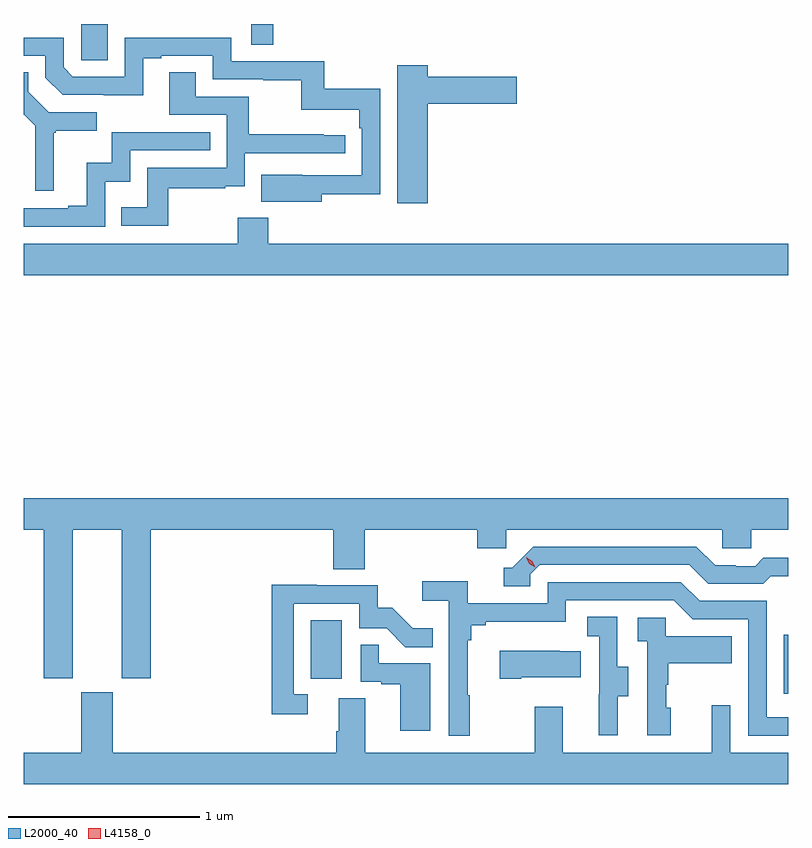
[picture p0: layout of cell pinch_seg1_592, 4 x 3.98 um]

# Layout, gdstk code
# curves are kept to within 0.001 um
import gdstk
lib = gdstk.Library(unit=1e-6, precision=1e-09)
def R(c, l, rs):  # rectangles x0, y0, x1, y1
    for r in rs: c.add(gdstk.rectangle(r[:2], r[2:], *l))
def P(c, l, *ps):  # polygons
    for p in ps: c.add(gdstk.Polygon(p, *l))
L2000_40 = (2000, 40)
L4158_0 = (4158, 0)

pinch_seg1_592 = lib.new_cell('pinch_seg1_592')
R(pinch_seg1_592, L2000_40, [(1048.248,508.248,1048.271,508.558), (1045.772,508.326,1045.936,508.633), (1044.57,511.564,1044.709,511.754), (1045.461,511.645,1045.577,511.754)])
P(pinch_seg1_592, L2000_40, [(1045.831,510.862),(1046.136,510.862),(1046.136,511.414),(1045.843,511.414),(1045.843,511.56),(1045.356,511.56),(1045.356,511.683),(1044.798,511.683),(1044.798,511.479),(1044.528,511.479),(1044.48,511.527),(1044.48,511.683),(1044.271,511.683),(1044.271,511.587),(1044.384,511.587),(1044.384,511.473),(1044.474,511.383),(1044.895,511.382),(1044.895,511.575),(1044.991,511.575),(1044.991,511.587),(1045.26,511.587),(1045.26,511.464),(1045.525,511.464),(1045.525,511.459),(1045.722,511.459),(1045.722,511.304),(1046.027,511.304),(1046.027,511.208),(1046.04,511.208),(1046.04,510.963),(1045.513,510.964),(1045.513,510.824),(1045.831,510.824)],
  [(1046.386,511.337),(1046.851,511.337),(1046.851,511.479),(1046.386,511.479),(1046.386,511.537),(1046.225,511.537),(1046.225,510.816),(1046.386,510.816)],
  [(1045.027,510.894),(1045.325,510.894),(1045.325,510.905),(1045.428,510.905),(1045.428,511.077),(1045.954,511.077),(1045.954,511.173),(1045.841,511.173),(1045.841,511.178),(1045.448,511.178),(1045.448,511.374),(1045.171,511.374),(1045.171,511.502),(1045.031,511.502),(1045.031,511.278),(1045.332,511.278),(1045.332,511.002),(1044.916,511.002),(1044.916,510.796),(1044.781,510.796),(1044.781,510.699),(1045.027,510.699)],
  [(1044.427,511.185),(1044.439,511.185),(1044.439,511.196),(1044.652,511.196),(1044.652,511.293),(1044.402,511.293),(1044.295,511.4),(1044.295,511.502),(1044.271,511.502),(1044.271,511.278),(1044.273,511.278),(1044.33,511.221),(1044.33,510.882),(1044.427,510.882)],
  [(1044.696,510.929),(1044.828,510.929),(1044.828,511.092),(1045.247,511.092),(1045.247,511.188),(1044.732,511.188),(1044.732,511.027),(1044.599,511.027),(1044.599,510.802),(1044.503,510.802),(1044.503,510.789),(1044.271,510.789),(1044.271,510.693),(1044.696,510.693)],
  [(1048.271,510.604),(1045.55,510.604),(1045.55,510.739),(1045.39,510.739),(1045.39,510.604),(1044.271,510.604),(1044.271,510.44),(1048.271,510.44)],
  [(1044.526,509.108),(1044.782,509.108),(1044.782,508.329),(1044.935,508.329),(1044.935,509.108),(1045.889,509.108),(1045.889,508.9),(1046.054,508.9),(1046.054,509.108),(1046.645,509.108),(1046.645,509.01),(1046.796,509.01),(1046.796,509.108),(1047.927,509.108),(1047.927,509.01),(1048.077,509.01),(1048.077,509.108),(1048.271,509.108),(1048.271,509.272),(1044.271,509.272),(1044.271,509.108),(1044.374,509.108),(1044.374,508.329),(1044.526,508.329)],
  [(1046.922,508.875),(1046.97,508.923),(1047.753,508.923),(1047.852,508.824),(1048.141,508.824),(1048.18,508.863),(1048.271,508.863),(1048.271,508.96),(1048.141,508.96),(1048.099,508.917),(1047.996,508.917),(1047.996,508.92),(1047.889,508.92),(1047.79,509.019),(1046.937,509.019),(1046.826,508.908),(1046.783,508.908),(1046.783,508.812),(1046.922,508.812)],
  [(1046.605,508.241),(1046.593,508.241),(1046.593,508.529),(1046.612,508.529),(1046.612,508.606),(1046.689,508.606),(1046.689,508.625),(1047.108,508.625),(1047.108,508.737),(1047.672,508.737),(1047.771,508.638),(1048.062,508.638),(1048.062,508.029),(1048.271,508.029),(1048.271,508.125),(1048.158,508.125),(1048.158,508.734),(1047.808,508.734),(1047.709,508.833),(1047.012,508.833),(1047.012,508.722),(1046.594,508.722),(1046.594,508.838),(1046.355,508.838),(1046.355,508.736),(1046.496,508.736),(1046.496,508.029),(1046.605,508.029)],
  [(1045.756,508.245),(1045.683,508.245),(1045.683,508.719),(1046.025,508.719),(1046.025,508.59),(1046.169,508.59),(1046.267,508.492),(1046.411,508.492),(1046.411,508.591),(1046.307,508.591),(1046.2,508.698),(1046.124,508.698),(1046.124,508.815),(1045.805,508.815),(1045.805,508.82),(1045.567,508.82),(1045.567,508.14),(1045.756,508.14)],
  [(1047.379,508.234),(1047.433,508.234),(1047.433,508.389),(1047.378,508.389),(1047.378,508.652),(1047.219,508.652),(1047.219,508.549),(1047.282,508.549),(1047.282,508.245),(1047.281,508.245),(1047.281,508.032),(1047.379,508.032)],
  [(1047.658,508.176),(1047.633,508.176),(1047.633,508.295),(1047.643,508.295),(1047.643,508.409),(1047.977,508.409),(1047.977,508.549),(1047.63,508.549),(1047.63,508.647),(1047.483,508.647),(1047.483,508.523),(1047.534,508.523),(1047.534,508.032),(1047.658,508.032)],
  [(1046.398,508.407),(1046.129,508.407),(1046.129,508.505),(1046.034,508.505),(1046.034,508.311),(1046.141,508.311),(1046.141,508.299),(1046.24,508.299),(1046.24,508.056),(1046.398,508.056)],
  [(1046.875,508.334),(1047.185,508.334),(1047.185,508.471),(1047.077,508.471),(1047.077,508.474),(1046.763,508.474),(1046.763,508.327),(1046.875,508.327)],
  [(1048.271,507.94),(1047.969,507.94),(1047.969,508.189),(1047.872,508.189),(1047.872,507.94),(1047.091,507.94),(1047.091,508.18),(1046.944,508.18),(1046.944,507.94),(1046.059,507.94),(1046.059,508.226),(1045.919,508.226),(1045.919,508.052),(1045.907,508.052),(1045.907,507.94),(1044.736,507.94),(1044.736,508.257),(1044.572,508.257),(1044.572,507.94),(1044.271,507.94),(1044.271,507.776),(1048.271,507.776)])
P(pinch_seg1_592, L4158_0, [(1046.947,508.91),(1046.916,508.93),(1046.9,508.962),(1046.9,508.962),(1046.9,508.962),(1046.931,508.943),(1046.948,508.91),(1046.948,508.91)])

lib.write_gds('pinch_seg1_592.gds')
